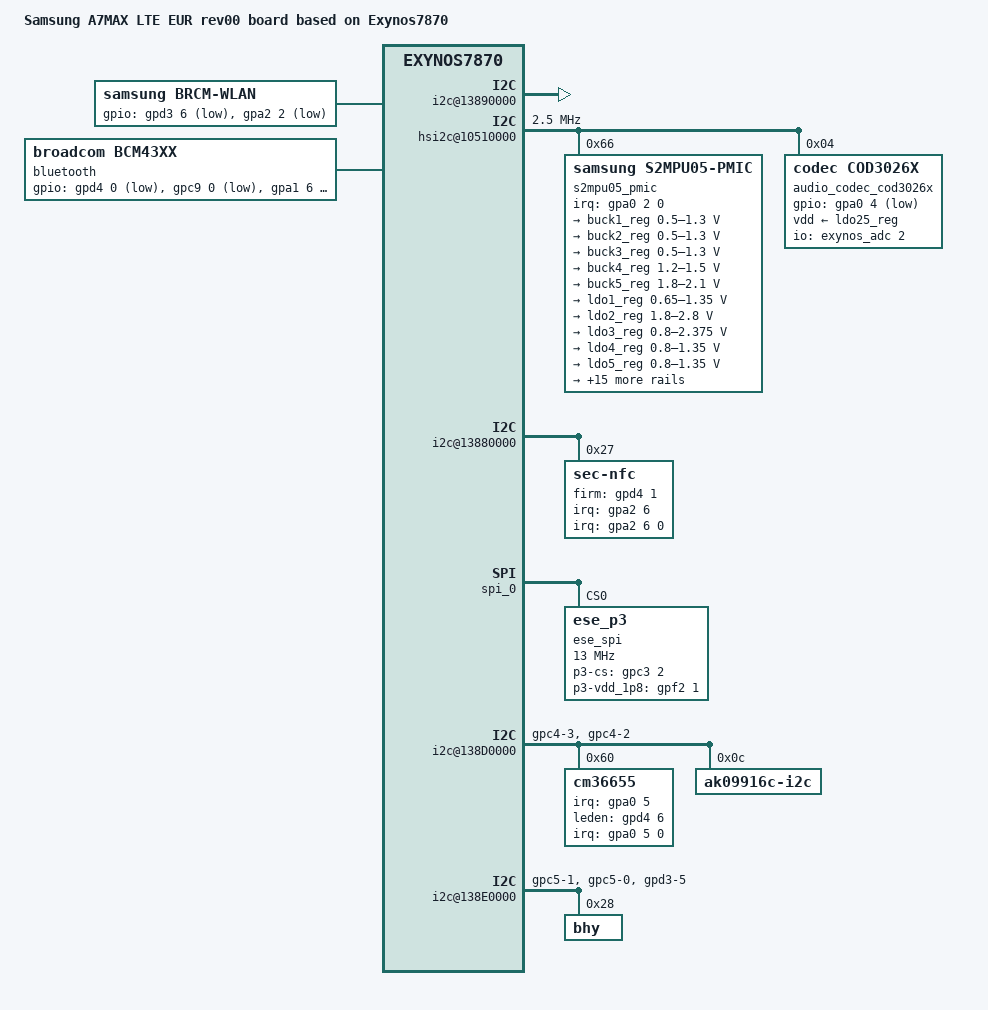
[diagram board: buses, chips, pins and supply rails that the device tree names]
/*
 * SAMSUNG UNIVERSAL8890 board device tree source
 *
 * Copyright (c) 2013 Samsung Electronics Co., Ltd.
 *		http://www.samsung.com
 *
 * This program is free software; you can redistribute it and/or modify
 * it under the terms of the GNU General Public License version 2 as
 * published by the Free Software Foundation.
*/

/dts-v1/;
#include "exynos7870-a7maxlte_common.dtsi"
#include "modem-ss315ap-pdata.dtsi"
#include "exynos7870-a7maxlte_eur_open_gpio_00.dtsi"
#include "exynos7870-a7maxlte_battery_00.dtsi"
#include "exynos7870-a7maxlte_mst_00.dtsi"
#include "exynos7870-a7maxlte_fingerprint-sensor_00.dtsi"

/ {
	model = "Samsung A7MAX LTE EUR rev00 board based on Exynos7870";
        model_info-chip = <7870>;
        model_info-platform = "android";
        model_info-subtype = "samsung";
        model_info-hw_rev = <0>;
        model_info-hw_rev_end = <255>;
	compatible = "samsung, A7MAX LTE EUR OPEN 00", "samsung,exynos7870";

	i2c@13890000{
		samsung,i2c-sda-delay = <100>;
		samsung,i2c-max-bus-freq = <300000>;
		status = "okay";
		#address-cells = <1>;
		#size-cells = <0>;

	};

	but_zones: but_zones {
		#list-but-cells = <3>;
	};	

	hsi2c@10510000 {
		status = "okay";
		samsung,hs-mode;
		clock-frequency = <2500000>;
		samsung,hsi2c-batcher;
		#address-cells = <1>;
		#size-cells = <0>;

		s2mpu05_pmic@66 {
			compatible = "samsung,s2mpu05-pmic";
			reg = <0x66>;
			ten-bit-address;
			interrupts = <2 0 0>;
			interrupt-parent = <&gpa0>;
			pinctrl-names = "default";
			pinctrl-0 = <&pmic_irq &pm_wrsti>;
			g3d_en = <1>; /* 1 : enable , 0 : disable */
			buck2en_pin = "etc1-3";
			buck2en_addr = "139B0080.pinctrl";
			/* RTC: wtsr/smpl */
			wtsr_en = <1>; /* enable */
			smpl_en = <1>; /* enable */
			wtsr_timer_val = <3>;   /* 1000ms */
			smpl_timer_val = <4>;   /* 500ms */
			check_jigon = <0>; /* do not check jigon */
			/* RTC: If it's first boot, reset rtc to 1/1/2016 12:00:00(Fri) */
			init_time,sec = <0>;
			init_time,min = <0>;
			init_time,hour = <12>;
			init_time,mday = <1>;
			init_time,mon = <0>;
			init_time,year = <116>;
			init_time,wday = <5>;

			regulators {
				buck1_reg: BUCK1 {
					regulator-name = "BUCK1";
					regulator-min-microvolt = <500000>;
					regulator-max-microvolt = <1300000>;
					regulator-always-on;
					regulator-boot-on;
					regulator-ramp-delay = <12000>;
					regulator-initial-mode = <1>;
					regulator-expected-consumer = <2>;
				};

				buck2_reg: BUCK2 {
					regulator-name = "BUCK2";
					regulator-min-microvolt = <500000>;
					regulator-max-microvolt = <1300000>;
					regulator-always-on;
					regulator-boot-on;
					regulator-ramp-delay = <12000>;
					regulator-initial-mode = <2>;		/* MIF mode */
					regulator-expected-consumer = <4>;
				};

				buck3_reg: BUCK3 {
					regulator-name = "BUCK3";
					regulator-min-microvolt = <500000>;
					regulator-max-microvolt = <1300000>;
					regulator-always-on;
					regulator-boot-on;
					regulator-ramp-delay = <12000>;
					regulator-initial-mode = <2>;
				};

				buck4_reg: BUCK4 {
					regulator-name = "BUCK4";
					regulator-min-microvolt = <1200000>;
					regulator-max-microvolt = <1500000>;
					regulator-always-on;
					regulator-boot-on;
					regulator-ramp-delay = <12000>;
					regulator-initial-mode = <2>;
				};

				buck5_reg: BUCK5 {
					regulator-name = "BUCK5";
					regulator-min-microvolt = <1800000>;
					regulator-max-microvolt = <2100000>;
					regulator-always-on;
					regulator-boot-on;
					regulator-ramp-delay = <12000>;
					regulator-initial-mode = <2>;
				};

				ldo1_reg: LDO1 {
					regulator-name = "vdd_ldo1";
					regulator-min-microvolt = <650000>;
					regulator-max-microvolt = <1350000>;
					regulator-always-on;
					regulator-boot-on;
					regulator-ramp-delay = <12000>;
					regulator-initial-mode = <3>;
				};

				ldo2_reg: LDO2 {
					regulator-name = "vqmmc";
					regulator-min-microvolt = <1800000>;
					regulator-max-microvolt = <2800000>;
					regulator-ramp-delay = <12000>;
					regulator-initial-mode = <0>;
				};

				ldo3_reg: LDO3 {
					regulator-name = "vdd_ldo3";
					regulator-min-microvolt = <800000>;
					regulator-max-microvolt = <2375000>;
					regulator-boot-on;
					regulator-always-on;
					regulator-ramp-delay = <12000>;
					regulator-initial-mode = <3>;
				};

				ldo4_reg: LDO4 {
					regulator-name = "vdd_ldo4";
					regulator-min-microvolt = <800000>;
					regulator-max-microvolt = <1350000>;
					regulator-boot-on;
					regulator-always-on;
					regulator-ramp-delay = <12000>;
					regulator-initial-mode = <1>;
				};

				ldo5_reg: LDO5 {
					regulator-name = "vdd_ldo5";
					regulator-min-microvolt = <800000>;
					regulator-max-microvolt = <1350000>;
					regulator-boot-on;
					regulator-always-on;
					regulator-ramp-delay = <12000>;
					regulator-initial-mode = <3>;
				};

				ldo6_reg: LDO6 {
					regulator-name = "vdd_ldo6";
					regulator-min-microvolt = <800000>;
					regulator-max-microvolt = <1350000>;
					regulator-boot-on;
					regulator-always-on;
					regulator-ramp-delay = <12000>;
					regulator-initial-mode = <1>;
				};

				ldo7_reg: LDO7 {
					regulator-name = "vdd_ldo7";
					regulator-min-microvolt = <800000>;
					regulator-max-microvolt = <2375000>;
					regulator-boot-on;
					regulator-always-on;
					regulator-ramp-delay = <12000>;
					regulator-initial-mode = <1>;
				};

				ldo8_reg: LDO8 {
					regulator-name = "vdd_ldo8";
					regulator-min-microvolt = <1800000>;
					regulator-max-microvolt = <3375000>;
					regulator-boot-on;
					regulator-always-on;
					regulator-ramp-delay = <12000>;
					regulator-initial-mode = <1>;
				};

				ldo9_reg: LDO9 {
					regulator-name = "vdd_ldo9";
					regulator-min-microvolt = <650000>;
					regulator-max-microvolt = <1350000>;
					regulator-always-on;
					regulator-ramp-delay = <12000>;
					regulator-initial-mode = <1>;
				};

				ldo10_reg: LDO10 {
					regulator-name = "vdd_ldo10";
					regulator-min-microvolt = <650000>;
					regulator-max-microvolt = <1350000>;
					regulator-always-on;
					regulator-ramp-delay = <12000>;
					regulator-initial-mode = <1>;
				};

				ldo25_reg: LDO25 {
					regulator-name = "vdd_ldo25";
					regulator-min-microvolt = <800000>;
					regulator-max-microvolt = <2375000>;
					regulator-ramp-delay = <12000>;
					regulator-initial-mode = <1>;
				};

				ldo26_reg: LDO26 {
					regulator-name = "vemmc";
					regulator-min-microvolt = <1800000>;
					regulator-max-microvolt = <3375000>;
					regulator-boot-on;
					regulator-ramp-delay = <12000>;
					regulator-initial-mode = <3>;
				};

				ldo27_reg: LDO27 {
					regulator-name = "vqemmc";
					regulator-min-microvolt = <800000>;
					regulator-max-microvolt = <2375000>;
					regulator-boot-on;
					regulator-ramp-delay = <12000>;
					regulator-initial-mode = <3>;
				};

				ldo29_reg: LDO29 {
					regulator-name = "LCD_3P0";
					regulator-min-microvolt = <3000000>;
					regulator-max-microvolt = <3000000>;
					regulator-boot-on;
					regulator-ramp-delay = <12000>;
					regulator-initial-mode = <3>;
				};

				ldo30_reg: LDO30 {
					regulator-name = "LCD_1P8";
					regulator-min-microvolt = <1800000>;
					regulator-max-microvolt = <1800000>;
					regulator-boot-on;
					regulator-ramp-delay = <12000>;
					regulator-initial-mode = <3>;
				};

				ldo31_reg: LDO31 {
					regulator-name = "vdd_ldo31";
					regulator-min-microvolt = <2800000>;
					regulator-max-microvolt = <2800000>;
					regulator-boot-on;
					regulator-always-on;
					regulator-ramp-delay = <12000>;
					regulator-initial-mode = <3>;
				};

				ldo32_reg: LDO32 {
					regulator-name = "VDD_MOTOR_3.3";
					regulator-min-microvolt = <3300000>;
					regulator-max-microvolt = <3300000>;
					regulator-ramp-delay = <12000>;
				};

				ldo33_reg: LDO33 {
					regulator-name = "vtouch_2.8v";
					regulator-min-microvolt = <2800000>;
					regulator-max-microvolt = <2800000>;
					regulator-boot-on;
				};

				ldo34_reg: LDO34 {
					regulator-name = "vtouch_3.3v";
					regulator-min-microvolt = <3300000>;
					regulator-max-microvolt = <3300000>;
					regulator-boot-on;
				};

				ldo35_reg: LDO35 {
					regulator-name = "VDD_CAM_SENSOR_A2P8";
					regulator-min-microvolt = <2800000>;
					regulator-max-microvolt = <2800000>;
					regulator-initial-mode = <0>;
				};
			};
		};

		audio_codec_cod3026x: cod3026x@04 {
			compatible = "codec,cod3026x";
			reg = <0x04>;
			ten-bit-address;
			vdd-supply = <&ldo25_reg>;
			pinctrl-names = "default";
			pinctrl-0 = <&cod3026_irq>;
			interrupt-parent = <&gpa0>;
			gpios = <&gpa0 4 0xf>;
			mic-bias1-voltage = <1>;
			mic-bias2-voltage = <1>;
			mic-bias-ldo-voltage = <3>;
			use-det-adc-mode;
			io-channels = <&exynos_adc 2>;
			io-channel-names = "adc-jack";
			#io-channel-cells = <1>;
			io-channel-ranges;
			but-zones-list = <&but_zones 226 0 230>, /* send/end */
					<&but_zones 582 231 315>, /* google */
					<&but_zones 115 316 530>, /* vol up */
					<&but_zones 114 531 1000>; /* vol down */
			mic-adc-range = <1470>;
		};
	};

	sound {
		compatible = "samsung,universal7870-cod3026x";
		mixer-paths = "mixer_paths_rev03.xml";
		status = "okay";
	};

	wlan {
		compatible = "samsung,brcm-wlan";
		gpios = <&gpd3 6 0x1 /* WLAN_EN */
		&gpa2 2 0x1 /* WLAN HOST WAKE GPIO_0 */>;
		pinctrl-names = "default";
		pinctrl-0 = <&cfg_wlanen &cfg_wlanhostwake>;
		status = "okay";
	};

	bluetooth {
		compatible = "broadcom,bcm43xx";
		gpios = <&gpd4 0 0x1	/*BT_EN*/
				&gpc9 0 0x1	/*BT_WAKE*/
				&gpa1 6 0xF	/*BT_HOST_WAKE*/ >;
		pinctrl-names = "default";
		pinctrl-0=<&bt_hostwake &bt_btwake &bt_en>;
		status = "okay";
	};

	pinctrl@139F0000 {
		ps_als: ps_als {
			samsung,pins = "gpa0-5";
			samsung,pin-function = <0x0>;
			samsung,pin-pud = <0>;
			samsung,pin-drv = <0>;
		};

		cfg_wlanhostwake: cfg-wlanhostwake {
			samsung,pins = "gpa2-2";
			samsung,pin-function = <0>;
			samsung,pin-pud = <1>;
		};

		bhy_int: bhy-int {
			samsung,pins = "gpa2-3";
			samsung,pin-function = <0>;
			samsung,pin-pud = <1>;
			samsung,pin-drv = <0>;
		};
	};

	pinctrl@13750000 {
		sd1_bus1: sd1-bus-width1 {
			samsung,pin-pud = <3>;
		};

		sd1_bus4: sd1-bus-width4 {
			samsung,pin-pud = <3>;
		};

	};

	pinctrl@139B0000 {
		sensor_i2c: sensor_i2c {
			samsung,pins = "gpc4-3", "gpc4-2";
			samsung,pin-function = <2>;
			samsung,pin-pud = <0>;
		};

		acc_i2c: acc_i2c {
			samsung,pins = "gpc5-1", "gpc5-0";
			samsung,pin-function = <2>;
			samsung,pin-pud = <0>;
		};

		sensor_pwr_en: sensor_pwr_en {
			samsung,pins = "gpd3-5";
			samsung,pin-function = <1>;
			samsung,pin-pud = <3>;
			samsung,pin-drv = <0>;
			samsung,pin-val = <1>;
		};

		vdden_gpio: vdden_gpio {
			samsung,pins = "gpd3-7";
			samsung,pin-function = <1>;
			samsung,pin-pud = <0>;
			samsung,pin-val = <1>;
		};

		cfg_wlanen: cfg-wlanen  {       /* WLAN_EN */
			samsung,pins = "gpd3-6";
			samsung,pin-function = <1>;
			samsung,pin-pud = <0>;
			samsung,pin-drv = <3>;
			samsung,pin-con-pdn = <3>;
			samsung,pin-pud-pdn = <0>;
			samsung,pin-val = <0>;
		};		
		vdd_nfc_ese_en: vdd-nfc-ese-en { 
			samsung,pins = "gpf2-1";
			samsung,pin-function = <1>;
			samsung,pin-pud = <1>;
			samsung,pin-drv = <3>;
		};
	};

	i2c@13880000 {
		samsung,i2c-sda-delay = <100>;
		samsung,i2c-max-bus-freq = <400000>;
		status = "okay";
		#address-cells = <1>;
		#size-cells = <0>;
		
		sec-nfc@27 {
			compatible = "sec-nfc";
			reg = <0x27>;
			interrupts = <6 0 0>;
			interrupt-parent = <&gpa2>;
			sec-nfc,nfc_pd = <&gpc2 2 0x2>;
			sec-nfc,firm-gpio = <&gpd4 1 0>;
			sec-nfc,irq-gpio = <&gpa2 6 0>;
			clkctrl-reg = <0x1048600C>;
			sec-nfc,nfc_clkreq = <&gpc2 3 0x2>;
			sec-nfc,pvdd_en = <&gpd2 1 0>;
			sec-nfc,check_nfc = <&gpd1 2 0x0>;
			pinctrl-names = "default";
			pinctrl-0 = <&nfc_n5_firm &nfc_n5_clk_req &nfc_pd &nfc_int &vdd_nfc_ese_en &nfc_pvdd_en>;
		};
	};

	spi_0: spi@13920000 {
		status = "okay";

		ese_spi@0 {
			compatible = "ese_p3";
			reg = <0>;
			spi-max-frequency = <13000000>;

			gpio-controller;
			#gpio-cells = <2>;

			p3-mosipin = <&gpc6 3 0>;
			p3-misopin = <&gpc6 2 0>;
			p3-clkpin = <&gpc6 0 0>;
			p3-cs_gpio = <&gpc3 2 0>;
			p3-vdd_1p8-gpio = <&gpf2 1 0>;
			p3-ap_vendor = "slsi";

			clocks = <&clock 191>, <&clock 633>;
			clock-names = "pclk", "sclk";

			pinctrl-names = "ese_active", "ese_suspend";
			pinctrl-0 = <&spi0_bus &ese_cs_func>;
			pinctrl-1 = <&spi0_bus_suspend &ese_cs_func_suspend>;

			controller-data {
				samsung,spi-feedback-delay = <0>;
				samsung,spi-chip-select-mode = <1>;
				cs-gpio = <&gpc3 2 0>;
			};
		};
	};

	i2c@138D0000 {
		samsung,i2c-sda-delay = <100>;
		samsung,i2c-max-bus-freq = <400000>;
		status = "okay";
		#address-cells = <1>;
		#size-cells = <0>;
		pinctrl-names = "default";
		pinctrl-0 = <&sensor_i2c>;

		cm36655@60 {
			compatible = "cm36655";
			reg = <0x60>;
			pinctrl-names = "dafault";
			pinctrl-0 = <&ps_als &vdden_gpio>;
			interrupt-parent = <&gpa0>;
			interrupts = <5 0 0>;
			cm36655,irq_gpio = <&gpa0 5 0x00>;
			cm36655,leden_gpio = <&gpd4 6 0x00>;
			#cm36655,pwr_en = <&gpd3 7 0x01>;
			cm36655,default_hi_thd = <18>;
			cm36655,default_low_thd = <13>;
			cm36655,cancel_hi_thd = <10>;
			cm36655,cancel_low_thd = <7>;
			cm36655,default_trim = <0x0003>;
		};

		ak09916c-i2c@0C {
			compatible = "ak09916c-i2c";
			reg = <0x0c>;
			ak09916c-i2c,chip_pos = <2>;
		};
	};

	i2c@138E0000 {
		samsung,i2c-sda-delay = <100>;
		samsung,i2c-max-bus-freq = <400000>;
		status = "okay";
		#address-cells = <1>;
		#size-cells = <0>;
		pinctrl-names = "default";
		pinctrl-0 = <&acc_i2c &sensor_pwr_en>;

		bhy@28 {
			compatible = "bhy";
			pinctrl-names = "default";
			pinctrl-0 = <&bhy_int>;
			bhy,gpio_irq = <&gpa2 3 0x00>;
			bhy,ldo_enable = <&gpd3 5 0x01>;
			bhy,acc-axis = <4>;
			reg = <0x28>;
		};
	};
};
